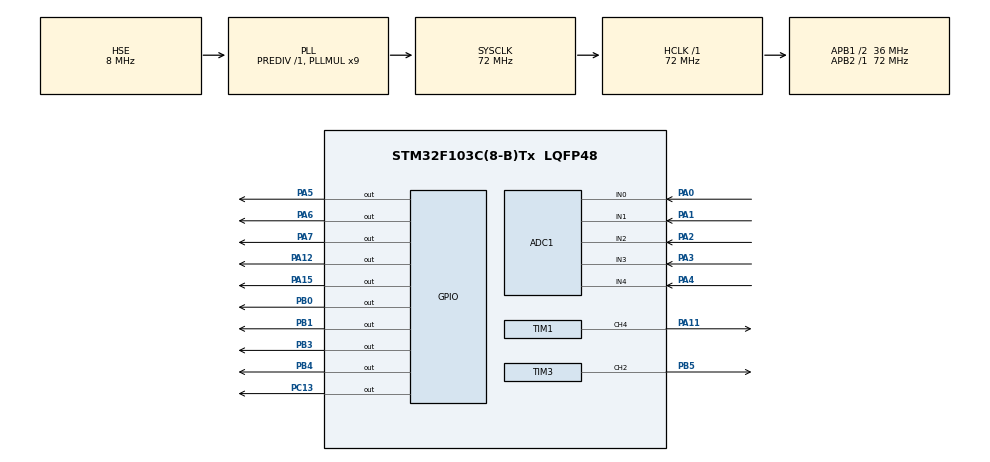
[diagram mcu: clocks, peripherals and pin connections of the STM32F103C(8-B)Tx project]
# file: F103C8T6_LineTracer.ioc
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ADC1.Channel-0\#ChannelRegularConversion=ADC_CHANNEL_4
ADC1.ContinuousConvMode=ENABLE
ADC1.NbrOfConversionFlag=1
ADC1.Rank-0\#ChannelRegularConversion=1
ADC1.SamplingTime-0\#ChannelRegularConversion=ADC_SAMPLETIME_1CYCLE_5
ADC1.master=1
Mcu.Family=STM32F1
Mcu.Name=STM32F103C(8-B)Tx
Mcu.Package=LQFP48
NVIC.PriorityGroup=NVIC_PRIORITYGROUP_4
PA0-WKUP.Signal=ADCx_IN0
PA1.Signal=ADCx_IN1
PA11.Signal=S_TIM1_CH4
PA12.Signal=GPIO_Output
PA13.Mode=Serial_Wire
PA13.Signal=SYS_JTMS-SWDIO
PA14.Mode=Serial_Wire
PA14.Signal=SYS_JTCK-SWCLK
PA15.Signal=GPIO_Output
PA2.Signal=ADCx_IN2
PA3.Signal=ADCx_IN3
PA4.Signal=ADCx_IN4
PA5.Signal=GPIO_Output
PA6.Signal=GPIO_Output
PA7.Signal=GPIO_Output
PB0.Signal=GPIO_Output
PB1.Signal=GPIO_Output
PB3.Signal=GPIO_Output
PB4.Signal=GPIO_Output
PB5.Signal=S_TIM3_CH2
PC13-TAMPER-RTC.Signal=GPIO_Output
PD0-OSC_IN.Mode=HSE-External-Oscillator
PD0-OSC_IN.Signal=RCC_OSC_IN
PD1-OSC_OUT.Mode=HSE-External-Oscillator
PD1-OSC_OUT.Signal=RCC_OSC_OUT
ProjectManager.HeapSize=0x200
ProjectManager.StackSize=0x400
ProjectManager.TargetToolchain=STM32CubeIDE
RCC.ADCPresc=RCC_ADCPCLK2_DIV6
RCC.AHBFreq_Value=72000000
RCC.APB1CLKDivider=RCC_HCLK_DIV2
RCC.APB1Freq_Value=36000000
RCC.APB1TimFreq_Value=72000000
RCC.APB2Freq_Value=72000000
RCC.APB2TimFreq_Value=72000000
RCC.HCLKFreq_Value=72000000
RCC.PLLMUL=RCC_PLL_MUL9
RCC.PLLSourceVirtual=RCC_PLLSOURCE_HSE
RCC.SYSCLKFreq_VALUE=72000000
RCC.SYSCLKSource=RCC_SYSCLKSOURCE_PLLCLK
RCC.USBFreq_Value=72000000
SH.ADCx_IN0.0=ADC1_IN0,IN0
SH.ADCx_IN1.0=ADC1_IN1,IN1
SH.ADCx_IN2.0=ADC1_IN2,IN2
SH.ADCx_IN3.0=ADC1_IN3,IN3
SH.ADCx_IN4.0=ADC1_IN4,IN4
SH.S_TIM1_CH4.0=TIM1_CH4,PWM Generation4 CH4
SH.S_TIM3_CH2.0=TIM3_CH2,PWM Generation2 CH2
TIM1.Channel-PWM\ Generation4\ CH4=TIM_CHANNEL_4
TIM1.Period=100 - 1
TIM1.Prescaler=720 -1 
TIM1.Pulse-PWM\ Generation4\ CH4=1000
TIM3.Channel-PWM\ Generation2\ CH2=TIM_CHANNEL_2
TIM3.Period=100 - 1
TIM3.Prescaler=720 -1 
TIM3.Pulse-PWM\ Generation2\ CH2=1000
VP_TIM1_VS_ClockSourceINT.Mode=Internal
VP_TIM3_VS_ClockSourceINT.Mode=Internal
board=custom

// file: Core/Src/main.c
/* USER CODE BEGIN Header */
/**
  ******************************************************************************
  * @file           : main.c
  * @brief          : Main program body
  ******************************************************************************
  * @attention
  *
  * Copyright (c) 2025 STMicroelectronics.
  * All rights reserved.
  *
  * This software is licensed under terms that can be found in the LICENSE file
  * in the root directory of this software component.
  * If no LICENSE file comes with this software, it is provided AS-IS.
  *
  ******************************************************************************
  */
/* USER CODE END Header */
#include "main.h"
#include "adc.h"
#include "tim.h"
#include "gpio.h"

/* USER CODE BEGIN PTD */
/*
 * gnd
 * clk
 * data
 * 3.3v
 * */
#define LED0 0x0002
#define LED1 0x0001
#define LED2 0x0080
#define LED3 0x0040
#define LED4 0x0020
#define OFF 1
#define ON 0
#define OFFSET_LED 500
#define OFFSET_STAGE 1800

#define DEFAULT_SPEED 35

#define WHITE 0 //PC13 LED ON
#define BLACK 1 //PC13 LED OFF

#define ADC_MIN 210
#define ADC_MAX 2900

/* USER CODE END PTD */

/* USER CODE BEGIN PV */
ADC_ChannelConfTypeDef sConfig = {0};
uint16_t adc_sensors[5] = {0}; // where adc's results are stored
float normalized_values[5];
float weight[5] = {-2, -1, 0, 1, 2};
uint16_t LED_state[5] = {0};
uint16_t reference_value= 0;

uint16_t state_direction;
/* ------------------------- */
float sum = 0;
float error;
float previousError;
float p, i, d;
float kp = 10;
float ki = 0;
float kd = 0;
int pidOutput = 0;
int leftSpeed = 0;
int rightSpeed = 0;
/* USER CODE END PV */

void SystemClock_Config(void);

/* USER CODE BEGIN 0 */
void normalize_sensors() {
    for (int i = 0; i < 5; i++) {
        if (adc_sensors[i] < ADC_MIN)
            normalized_values[i] = 0.0;
        else if (adc_sensors[i] > ADC_MAX)
            normalized_values[i] = 1.0;
        else
            normalized_values[i] = (float)(adc_sensors[i] - ADC_MIN) / (ADC_MAX - ADC_MIN);

        normalized_values[i] = normalized_values[i] * weight[i];
    }
}

void read_ADC() {
	sConfig.Rank = ADC_REGULAR_RANK_1;
	sConfig.SamplingTime = ADC_SAMPLETIME_1CYCLE_5;
	HAL_ADC_Start(&hadc1);
	for (int i = 0; i < 5; i++) {
		sConfig.Channel = ADC_CHANNEL_0 + i;
		HAL_ADC_ConfigChannel(&hadc1, &sConfig);
		HAL_ADC_PollForConversion(&hadc1, 1000);
		adc_sensors[i] = HAL_ADC_GetValue(&hadc1);
	}
	HAL_ADC_Stop(&hadc1);
	normalize_sensors();
}
/*
 * sum > 0 : turn right
 * sum < 0 : turn left
 *
 * pidOutput > 0 : turn right (left up ,right down)
 * pidOutput < 0 : turn left (left down, right up)
 * */
void pid() {
	float temp;
	for (int i = 0; i < 5; i++) {
		temp += normalized_values[i];
	}
	sum = temp;

	error = sum; // sum - 0
	p = kp * sum;
	i = i + (ki * error);
	d = kd *(error - previousError);
	previousError = error;

	pidOutput = p + i + d;
	temp = 0;

	if (pidOutput > 100 -DEFAULT_SPEED)
		pidOutput = 100;
	else if (pidOutput < -(100-DEFAULT_SPEED))
		pidOutput = -(100-DEFAULT_SPEED);

	leftSpeed = DEFAULT_SPEED + pidOutput;
	rightSpeed = DEFAULT_SPEED - pidOutput;

	if (leftSpeed < 0)
		leftSpeed = 0;
	if (rightSpeed <0)
		rightSpeed = 0;
	htim3.Instance->CCR2 = leftSpeed; //left
	htim1.Instance->CCR4 = rightSpeed; // right
}

/*
 * brief
 * check if the sensor is on black
 * 1 will be returned if it is on black
 * 0 will be returned if it is not
 */
uint16_t isOnBlack(uint16_t check) {
	if (check > reference_value)
		return 1;
	else
		return 0;
}

/*
 * determine LED's state
 * LED ON when it's on black
 * LED OFF when it's on white
 */
void determine_LED() {
	for (int i = 0; i < 5; i++) {
		// LED ON when it's on black
		if (isOnBlack(adc_sensors[i])) {

			switch(i) {
			case 0 :
				HAL_GPIO_WritePin(GPIOB, LED0, ON);
				continue;
			case 1 :
				HAL_GPIO_WritePin(GPIOB, LED1, ON);
				continue;
			case 2 :
				HAL_GPIO_WritePin(GPIOA, LED2, ON);
				continue;
			case 3 :
				HAL_GPIO_WritePin(GPIOA, LED3, ON);
				continue;
			case 4:
				HAL_GPIO_WritePin(GPIOA, LED4, ON);
				continue;
			}
		}
		else {
			switch(i) {
			case 0 :
				HAL_GPIO_WritePin(GPIOB, LED0, OFF);
				continue;
			case 1 :
				HAL_GPIO_WritePin(GPIOB, LED1, OFF);
				continue;
			case 2 :
				HAL_GPIO_WritePin(GPIOA, LED2, OFF);
				continue;
			case 3 :
				HAL_GPIO_WritePin(GPIOA, LED3, OFF);
				continue;
			case 4:
				HAL_GPIO_WritePin(GPIOA, LED4, OFF);
				continue;
			}
		}
	}
}

void go() {
	HAL_GPIO_WritePin(GPIOB, GPIO_PIN_4, 0); //in1
	HAL_GPIO_WritePin(GPIOB, GPIO_PIN_3, 1); //in2
	HAL_GPIO_WritePin(GPIOA, GPIO_PIN_15, 0); //in3
	HAL_GPIO_WritePin(GPIOA, GPIO_PIN_12, 1); //in4
}

/* USER CODE END 0 */

int main(void)
{

  /* MCU Configuration--------------------------------------------------------*/

  /* Reset of all peripherals, Initializes the Flash interface and the Systick. */
  HAL_Init();

  /* Configure the system clock */
  SystemClock_Config();

  /* Initialize all configured peripherals */
  MX_GPIO_Init();
  MX_ADC1_Init();
  MX_TIM1_Init();
  MX_TIM3_Init();
  /* USER CODE BEGIN 2 */

  HAL_TIM_PWM_Start(&htim1, TIM_CHANNEL_4);
  HAL_TIM_PWM_Start(&htim3, TIM_CHANNEL_2);

  for (int i = 0; i < 100; i ++) {
	  read_ADC();
	  reference_value += ((adc_sensors[0] + adc_sensors[1] + adc_sensors[2] + adc_sensors[3] + adc_sensors[4]) / 5);
  }
  reference_value = (reference_value / 100) + OFFSET_LED;
  normalize_sensors();
  for (int i = 0; i <4; i ++) {
  	  HAL_GPIO_TogglePin(GPIOB, LED0 | LED1);
  	  HAL_GPIO_TogglePin(GPIOA, LED2 | LED3 | LED4);
  	  HAL_Delay(300);
  }
  go();
//  read_ADC();
//  reference_value = ((adc_sensors[0] + adc_sensors[1] + adc_sensors[2] + adc_sensors[3] + adc_sensors[4]) / 5) + OFFSET;

  /* USER CODE END 2 */

  /* Infinite loop */
  /* USER CODE BEGIN WHILE */
  while (1)
  {
	  // blink led
//	  HAL_GPIO_TogglePin(GPIOB, GPIO_PIN_0 | GPIO_PIN_1);
//	  HAL_GPIO_TogglePin(GPIOA,GPIO_PIN_5);

	  read_ADC();
	  determine_LED();
	  pid();
    /* USER CODE END WHILE */

  }
}

void SystemClock_Config(void)
{
  RCC_OscInitTypeDef RCC_OscInitStruct = {0};
  RCC_ClkInitTypeDef RCC_ClkInitStruct = {0};
  RCC_PeriphCLKInitTypeDef PeriphClkInit = {0};

  /** Initializes the RCC Oscillators according to the specified parameters
  * in the RCC_OscInitTypeDef structure.
  */
  RCC_OscInitStruct.OscillatorType = RCC_OSCILLATORTYPE_HSE;
  RCC_OscInitStruct.HSEState = RCC_HSE_ON;
  RCC_OscInitStruct.HSEPredivValue = RCC_HSE_PREDIV_DIV1;
  RCC_OscInitStruct.HSIState = RCC_HSI_ON;
  RCC_OscInitStruct.PLL.PLLState = RCC_PLL_ON;
  RCC_OscInitStruct.PLL.PLLSource = RCC_PLLSOURCE_HSE;
  RCC_OscInitStruct.PLL.PLLMUL = RCC_PLL_MUL9;
  if (HAL_RCC_OscConfig(&RCC_OscInitStruct) != HAL_OK)
  {
    Error_Handler();
  }

  /** Initializes the CPU, AHB and APB buses clocks
  */
  RCC_ClkInitStruct.ClockType = RCC_CLOCKTYPE_HCLK|RCC_CLOCKTYPE_SYSCLK
                              |RCC_CLOCKTYPE_PCLK1|RCC_CLOCKTYPE_PCLK2;
  RCC_ClkInitStruct.SYSCLKSource = RCC_SYSCLKSOURCE_PLLCLK;
  RCC_ClkInitStruct.AHBCLKDivider = RCC_SYSCLK_DIV1;
  RCC_ClkInitStruct.APB1CLKDivider = RCC_HCLK_DIV2;
  RCC_ClkInitStruct.APB2CLKDivider = RCC_HCLK_DIV1;

  if (HAL_RCC_ClockConfig(&RCC_ClkInitStruct, FLASH_LATENCY_2) != HAL_OK)
  {
    Error_Handler();
  }
  PeriphClkInit.PeriphClockSelection = RCC_PERIPHCLK_ADC;
  PeriphClkInit.AdcClockSelection = RCC_ADCPCLK2_DIV6;
  if (HAL_RCCEx_PeriphCLKConfig(&PeriphClkInit) != HAL_OK)
  {
    Error_Handler();
  }
}

/* USER CODE END 4 */

void Error_Handler(void)
{
  __disable_irq();
  while (1)
  {
  }
}
